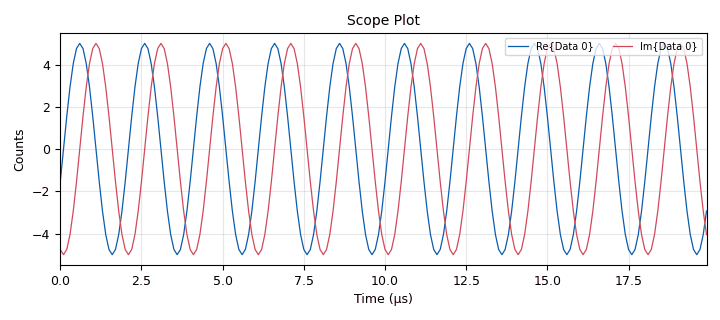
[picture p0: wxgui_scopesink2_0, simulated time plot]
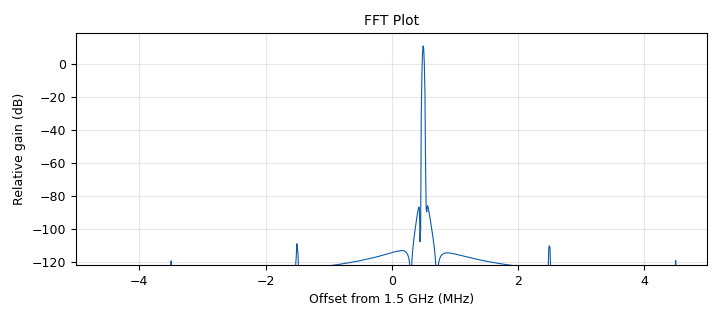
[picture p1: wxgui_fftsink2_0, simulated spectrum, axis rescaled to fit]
<?xml version='1.0' encoding='utf-8'?>
<?grc format='1' created='3.7.5'?>
<flow_graph>
<block>
<key>options</key>
<param><key>id</key><value>top_block</value></param>
<param><key>generate_options</key><value>wx_gui</value></param>
<param><key>category</key><value>Custom</value></param>
</block>
<block>
<key>variable</key>
<param><key>id</key><value>samp_rate</value></param>
<param><key>value</key><value>10e6</value></param>
</block>
<block>
<key>variable</key>
<param><key>id</key><value>sig_freq</value></param>
<param><key>value</key><value>samp_rate/20</value></param>
</block>
<block>
<key>blocks_float_to_complex</key>
<param><key>id</key><value>blocks_float_to_complex_0</value></param>
</block>
<block>
<key>blocks_throttle</key>
<param><key>id</key><value>blocks_throttle_0</value></param>
<param><key>type</key><value>complex</value></param>
<param><key>samples_per_second</key><value>samp_rate</value></param>
</block>
<block>
<key>analog_sig_source_x</key>
<param><key>id</key><value>analog_sig_source_x_0_0</value></param>
<param><key>type</key><value>float</value></param>
<param><key>samp_rate</key><value>samp_rate</value></param>
<param><key>waveform</key><value>analog.GR_COS_WAVE</value></param>
<param><key>freq</key><value>sig_freq</value></param>
<param><key>amp</key><value>5</value></param>
<param><key>offset</key><value>0</value></param>
</block>
<block>
<key>analog_sig_source_x</key>
<param><key>id</key><value>analog_sig_source_x_0</value></param>
<param><key>type</key><value>float</value></param>
<param><key>samp_rate</key><value>samp_rate</value></param>
<param><key>waveform</key><value>analog.GR_SIN_WAVE</value></param>
<param><key>freq</key><value>sig_freq</value></param>
<param><key>amp</key><value>5</value></param>
<param><key>offset</key><value>0</value></param>
</block>
<block>
<key>wxgui_scopesink2</key>
<param><key>id</key><value>wxgui_scopesink2_0</value></param>
<param><key>type</key><value>complex</value></param>
<param><key>title</key><value>Scope Plot</value></param>
<param><key>samp_rate</key><value>samp_rate</value></param>
<param><key>v_scale</key><value>0</value></param>
<param><key>v_offset</key><value>0</value></param>
<param><key>t_scale</key><value>0</value></param>
<param><key>ac_couple</key><value>False</value></param>
<param><key>xy_mode</key><value>False</value></param>
<param><key>num_inputs</key><value>1</value></param>
<param><key>trig_mode</key><value>wxgui.TRIG_MODE_AUTO</value></param>
<param><key>y_axis_label</key><value>Counts</value></param>
</block>
<block>
<key>wxgui_fftsink2</key>
<param><key>id</key><value>wxgui_fftsink2_0</value></param>
<param><key>type</key><value>complex</value></param>
<param><key>title</key><value>FFT Plot</value></param>
<param><key>samp_rate</key><value>samp_rate</value></param>
<param><key>baseband_freq</key><value>1500000000</value></param>
<param><key>y_per_div</key><value>10</value></param>
<param><key>y_divs</key><value>10</value></param>
<param><key>ref_level</key><value>0</value></param>
<param><key>ref_scale</key><value>2.0</value></param>
<param><key>fft_size</key><value>1024</value></param>
<param><key>fft_rate</key><value>15</value></param>
<param><key>peak_hold</key><value>False</value></param>
<param><key>average</key><value>False</value></param>
<param><key>avg_alpha</key><value>0</value></param>
<param><key>win</key><value>None</value></param>
<param><key>freqvar</key><value>None</value></param>
</block>
<block>
<key>zingsdr_sink_sync</key>
<param><key>id</key><value>zingsdr_sink_sync_0</value></param>
<param><key>ipaddr</key><value>192.168.1.10</value></param>
<param><key>port</key><value>8000</value></param>
<param><key>tx_freq</key><value>freq</value></param>
<param><key>tx_vga</key><value>gain</value></param>
<param><key>sample_rate</key><value>int(samp_rate)</value></param>
<param><key>dci</key><value>148</value></param>
<param><key>dcq</key><value>130</value></param>
</block>
<block>
<key>variable_slider</key>
<param><key>id</key><value>gain</value></param>
<param><key>label</key><value>gain</value></param>
<param><key>value</key><value>18</value></param>
<param><key>min</key><value>0</value></param>
<param><key>max</key><value>30</value></param>
<param><key>num_steps</key><value>1</value></param>
<param><key>style</key><value>wx.SL_HORIZONTAL</value></param>
<param><key>converver</key><value>int_converter</value></param>
</block>
<block>
<key>variable_slider</key>
<param><key>id</key><value>freq</value></param>
<param><key>label</key><value>freq</value></param>
<param><key>value</key><value>1500000000</value></param>
<param><key>min</key><value>390000000</value></param>
<param><key>max</key><value>2500000000</value></param>
<param><key>num_steps</key><value>1000</value></param>
<param><key>style</key><value>wx.SL_HORIZONTAL</value></param>
<param><key>converver</key><value>int_converter</value></param>
</block>
<connection><source_block_id>analog_sig_source_x_0_0</source_block_id><sink_block_id>blocks_float_to_complex_0</sink_block_id><source_key>0</source_key><sink_key>0</sink_key></connection>
<connection><source_block_id>analog_sig_source_x_0</source_block_id><sink_block_id>blocks_float_to_complex_0</sink_block_id><source_key>0</source_key><sink_key>1</sink_key></connection>
<connection><source_block_id>blocks_float_to_complex_0</source_block_id><sink_block_id>blocks_throttle_0</sink_block_id><source_key>0</source_key><sink_key>0</sink_key></connection>
<connection><source_block_id>blocks_throttle_0</source_block_id><sink_block_id>zingsdr_sink_sync_0</sink_block_id><source_key>0</source_key><sink_key>0</sink_key></connection>
<connection><source_block_id>blocks_throttle_0</source_block_id><sink_block_id>wxgui_fftsink2_0</sink_block_id><source_key>0</source_key><sink_key>0</sink_key></connection>
<connection><source_block_id>blocks_throttle_0</source_block_id><sink_block_id>wxgui_scopesink2_0</sink_block_id><source_key>0</source_key><sink_key>0</sink_key></connection>
</flow_graph>
